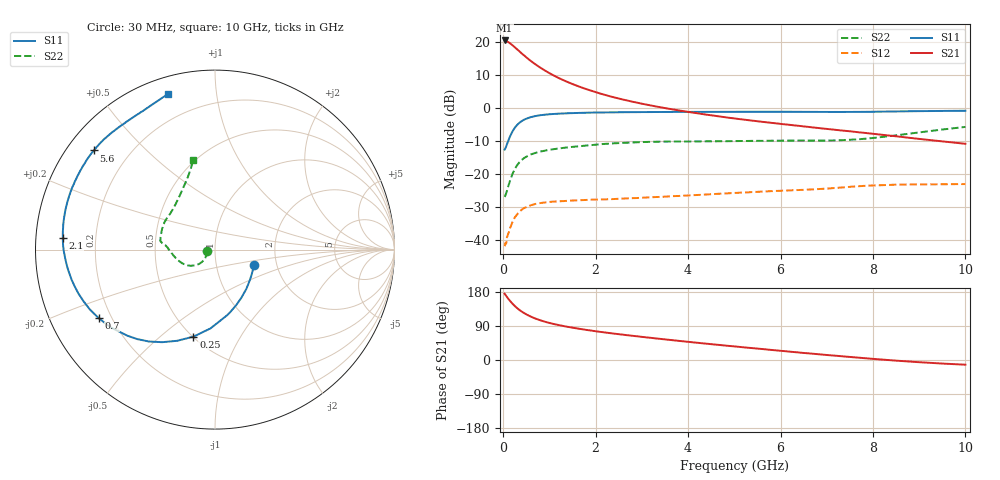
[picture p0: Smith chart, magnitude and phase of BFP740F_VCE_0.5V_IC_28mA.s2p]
! Infineon Technologies  Discrete & RF Semiconductors
! BFP740F
! VCE =  0.5 V,  IC =  28 mA
! Common Emitter S-Parameters:  Oct 2012
# GHz  S  MA  R  50
!  f  S11  S21  S12  S22
! GHz  MAG  ANG  MAG  ANG  MAG  ANG  MAG  ANG
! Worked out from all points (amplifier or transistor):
!   99 points, 30 MHz to 10 GHz, reference 50 ohm
!   highest |S21| = 20.4 dB at 30 MHz (marker M1)
!   |S21| within 3 dB of that: start of sweep to 327.4 MHz
!   unconditionally stable (mu >= 1): start of sweep to end of sweep
!   at 350 MHz: K = 1.72, MAG = 19.3 dB, |S12| = -31.4 dB
!   at 3.5 GHz: K = 2.61, MAG = 6.4 dB, |S12| = -26.9 dB
!   at 10 GHz: K = 3.74, MAG = -2.6 dB, |S12| = -23.0 dB
!   S11 on the Smith chart (normalised r, x): 30 MHz: 1.52, -0.28; 250 MHz: 0.50, -0.65; 700 MHz: 0.15, -0.27; 2.1 GHz: 0.08, +0.04; 5.6 GHz: 0.08, +0.36; 10 GHz: 0.08, +0.74
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0.03  0.2336 -21.7  10.44 174.9  0.0081 18.8  0.0451 -168.1
0.1  0.3049 -61.0  9.931 163.3  0.012 39.9  0.0623 -143.7
0.14  0.359 -76.4  9.528 157.0  0.0147 43.4  0.0762 -138.4
0.2  0.44 -93.3  8.845 148.6  0.0187 44.0  0.0999 -136.5
0.25  0.4995 -103.9  8.228 142.5  0.022 43.4  0.1189 -137.9
0.35  0.5939 -119.7  7.16 132.1  0.0268 39.2  0.1501 -143.7
0.45  0.6607 -131.0  6.22 123.9  0.0304 35.1  0.1738 -149.4
0.5  0.685 -135.6  5.791 120.4  0.0316 33.0  0.1825 -152.1
0.6  0.725 -143.3  5.089 114.3  0.0337 29.8  0.1977 -157.1
0.7  0.7519 -149.4  4.528 109.2  0.0353 27.2  0.2083 -161.6
0.9  0.7874 -158.7  3.673 101.1  0.037 23.6  0.225 -168.6
1.1  0.8083 -165.4  3.066 94.8  0.0382 21.0  0.2375 -173.6
1.4  0.8278 -172.8  2.442 87.4  0.0393 19.2  0.2528 -178.7
1.7  0.8398 -178.4  2.025 81.3  0.0402 18.3  0.2647 177.4
2.1  0.8505 175.7  1.642 74.2  0.0412 18.1  0.2817 174.9
2.6  0.8579 169.6  1.329 66.7  0.0425 18.5  0.2952 173.1
3.4  0.8647 161.2  1.021 55.7  0.045 19.5  0.3082 171.0
5.1  0.8719 145.0  0.677 34.7  0.052 20.0  0.3147 161.0
5.6  0.872 140.7  0.615 29.0  0.0541 19.8  0.3165 157.0
6.7  0.8679 130.0  0.505 16.5  0.0585 19.2  0.3201 145.6
8.5  0.882 112.9  0.371 -1.7  0.0689 13.5  0.3835 117.9
10  0.9036 106.8  0.286 -12.4  0.0704 8.5  0.5147 103.6
